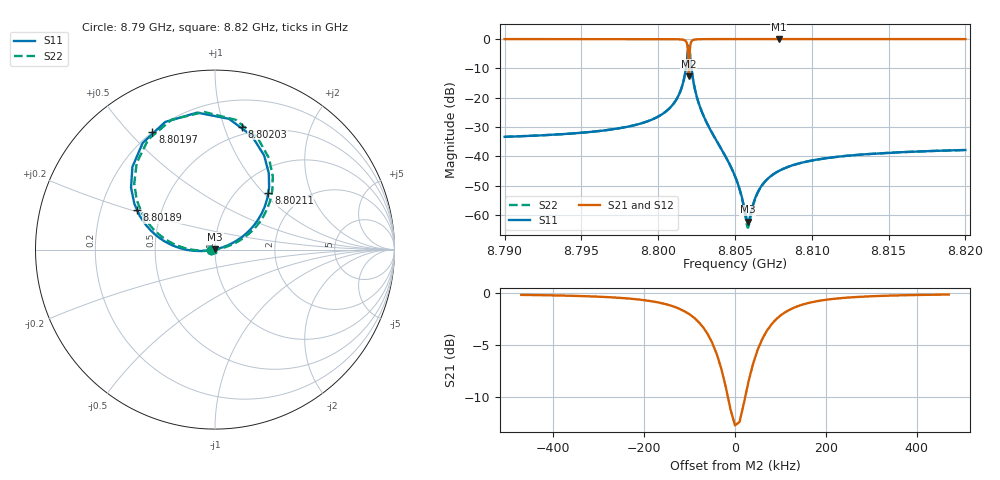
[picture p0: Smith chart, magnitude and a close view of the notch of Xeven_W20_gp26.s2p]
! Sonnet Data File
! From: emgraph Version : 16.52
! From Project: Qubit_Test_beforeopt
! Data is De-embedded
! Data File Written: 10/18/2017 20:39:12
!< HDATE 10/18/2017 18:14:34
!< MDATE 10/18/2017 18:14:34
!< PARAMS
!< Lj = 11.0
!< Gap = 26.0
!< Pwid = 2000.0
!< Airgap = 12.0
!< Width = 20.0
!< END PARAMS
# GHZ S MA R 51.80000
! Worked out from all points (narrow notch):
!   3001 points, 8.79 GHz to 8.82 GHz, reference 51.8 ohm
!   highest |S21| = 0.00 dB at 8.80785 GHz (marker M1); lowest = -12.7 dB at 8.80199 GHz (marker M2)
!   notch at M2: 12.7 dB deep, 79.3 kHz wide at half that depth
!   lowest |S11| = -62.2 dB at 8.80584 GHz (marker M3), VSWR 1.00, Z = 51.8 + j0.0786 ohm
!   |S11| at or under -10 dB: start of sweep to 8.801802 GHz; 8.802166 GHz to end of sweep
!   |S22| runs from -64.2 to -2.2 dB; largest |S21 - S12| = 0
!   S11 on the Smith chart (normalised r, x): 8.79 GHz: 0.96, -0.01; 8.80189 GHz: 0.36, +0.21; 8.80197 GHz: 0.20, +0.58; 8.80203 GHz: 0.42, +1.15; 8.80211 GHz: 1.37, +1.06; 8.82 GHz: 0.97, -0.00
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8.79  0.02162 -171.1  0.9998 -80.7  0.9998 -80.7  0.02162 -170.4
!< P1 F=8.79 Eeff=(6.4461688 -2.9978e-5) Z0=(50.9065254 1.15671e-4) R=0.0 C=0.0
!< P2 F=8.79 Eeff=(6.4461688 -2.9978e-5) Z0=(50.9065254 1.15671e-4) R=0.0 C=0.0
8.795  0.02537 -171.1  0.9997 -81.0  0.9997 -81.0  0.02537 -170.9
8.79809  0.03248 -171.3  0.9994 -81.4  0.9994 -81.4  0.03248 -171.8
8.8  0.04789 -172.0  0.9986 -82.3  0.9986 -82.3  0.04788 -173.3
8.8013  0.1063 -175.9  0.9919 -85.7  0.9919 -85.7  0.1062 -178.1
8.80172  0.2355 174.5  0.9571 -93.2  0.9571 -93.2  0.2354 171.9
8.80182  0.3416 166.1  0.9058 -99.5  0.9058 -99.5  0.3415 163.4
8.80189  0.4878 153.2  0.7933 -108.3  0.7933 -108.3  0.4876 150.4
8.80197  0.7444 118.0  0.3518 -115.5  0.3518 -115.5  0.7441 115.1
8.80199  0.7723 104.4  0.2312 -88.1  0.2312 -88.1  0.772 101.5
8.80203  0.7019 77.7  0.4605 -41.0  0.4605 -41.0  0.7016 74.7
8.80211  0.4321 46.5  0.8346 -54.4  0.8346 -54.4  0.4319 43.4
8.80218  0.2958 35.1  0.925 -62.5  0.925 -62.5  0.2956 31.9
8.80231  0.1774 25.9  0.9729 -69.4  0.9729 -69.4  0.1773 22.6
8.8028  0.06148 17.7  0.9963 -76.1  0.9963 -76.1  0.06144 13.5
8.805  0.004645 22.4  0.9999 -79.4  0.9999 -79.4  0.004605 2.2
8.80584  0.0007758 102.0  0.9999 -79.6  0.9999 -79.6  0.0006135 -81.3
8.80662  0.002862 176.4  0.9999 -79.8  0.9999 -79.8  0.002834 -158.2
8.80785  0.005667 -175.9  0.9999 -80.0  0.9999 -80.0  0.005658 -164.7
8.81  0.008537 -173.5  0.9999 -80.2  0.9999 -80.2  0.008534 -167.1
8.815  0.01155 -172.4  0.9999 -80.4  0.9999 -80.4  0.01155 -168.4
8.82  0.0129 -172.1  0.9999 -80.5  0.9999 -80.5  0.0129 -168.9
